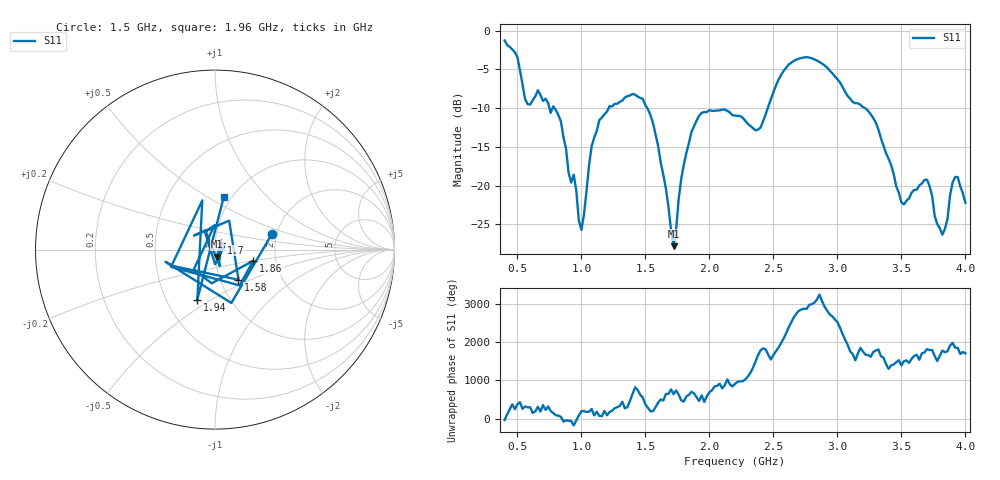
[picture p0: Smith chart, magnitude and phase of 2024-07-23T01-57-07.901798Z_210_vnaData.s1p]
!Created with skrf (http://scikit-rf.org).
# Hz S RI R 50.0
!freq ReS11 ImS11
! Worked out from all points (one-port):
!   181 points, 400 MHz to 4 GHz, reference 50 ohm
!   lowest |S11| = -27.8 dB at 1.72 GHz (marker M1), VSWR 1.08, Z = 50.8 - j4.03 ohm
!   |S11| at or under -10 dB: 790 MHz to 1.213 GHz (422.6 MHz wide, 42.2 % of centre); 1.515 GHz to 2.456 GHz (941.4 MHz wide, 47.4 % of centre); 3.216 GHz to end of sweep (the widest 3 of 4)
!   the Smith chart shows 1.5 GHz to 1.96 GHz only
!   S11 on the Smith chart (normalised r, x): 1.5 GHz: 1.88, +0.38; 1.58 GHz: 1.22, -0.43; 1.7 GHz: 1.07, +0.08; 1.86 GHz: 1.52, -0.20; 1.94 GHz: 0.71, -0.43; 1.96 GHz: 0.92, +0.59
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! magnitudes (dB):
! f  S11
! 400 MHz  -1.3
! 500 MHz  -3.4
! 580 MHz  -9.5
! 660 MHz  -7.7
! 860 MHz  -13.8
! 1 GHz  -25.7
! 1.08 GHz  -14.9
! 1.14 GHz  -11.5
! 1.3 GHz  -9.2
! 1.5 GHz  -9.6
! 1.58 GHz  -13.4
! 1.7 GHz  -25.7
! 1.72 GHz  -27.8
! 1.76 GHz  -21.7
! 1.86 GHz  -13.1
! 1.94 GHz  -10.6
! 1.96 GHz  -10.5
! 2.2 GHz  -10.9
! 2.4 GHz  -12.5
! 2.66 GHz  -3.9
! 3.1 GHz  -8.8
! 3.28 GHz  -11.3
! 3.5 GHz  -22.1
! 3.56 GHz  -21.6
! 3.7 GHz  -19.2
! 3.82 GHz  -26.3
! 3.92 GHz  -18.9
! 4 GHz  -22.2
